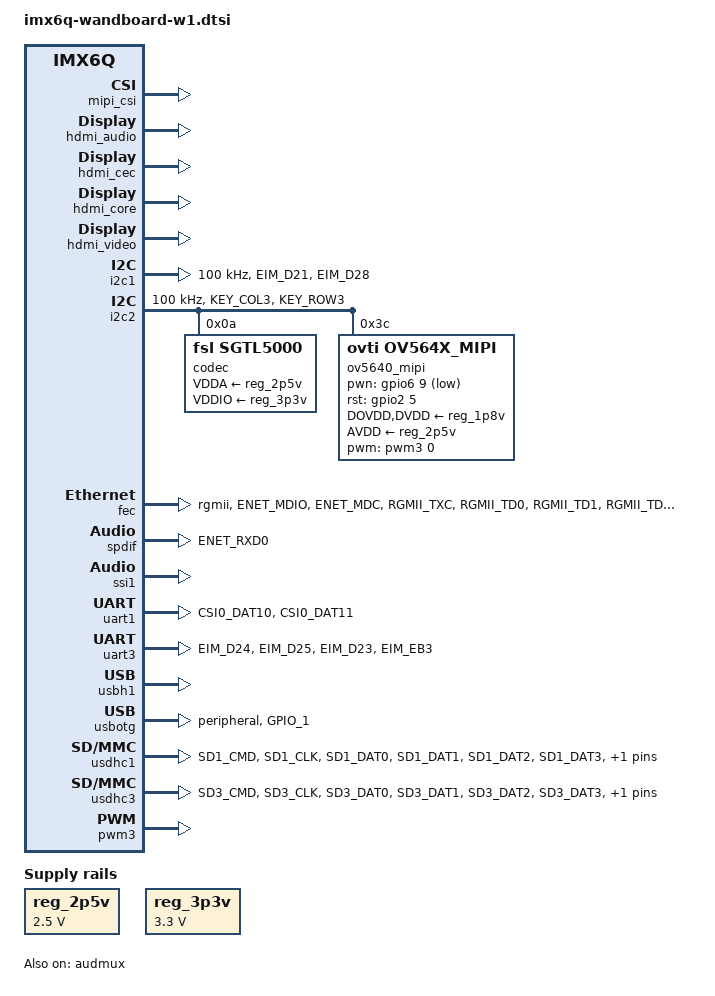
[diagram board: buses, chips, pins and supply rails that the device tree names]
/*
 * Copyright 2013 Freescale Semiconductor, Inc.
 *
 * Author: Fabio Estevam <fabio.estevam@freescale.com>
 *
 * This program is free software; you can redistribute it and/or modify
 * it under the terms of the GNU General Public License version 2 as
 * published by the Free Software Foundation.
 *
 */

#include <dt-bindings/gpio/gpio.h>

/ {
	regulators {
		compatible = "simple-bus";
		#address-cells = <1>;
		#size-cells = <0>;

		reg_2p5v: regulator@0 {
			compatible = "regulator-fixed";
			reg = <0>;
			regulator-name = "2P5V";
			regulator-min-microvolt = <2500000>;
			regulator-max-microvolt = <2500000>;
			regulator-always-on;
		};

		reg_3p3v: regulator@1 {
			compatible = "regulator-fixed";
			reg = <1>;
			regulator-name = "3P3V";
			regulator-min-microvolt = <3300000>;
			regulator-max-microvolt = <3300000>;
			regulator-always-on;
		};
	};

	sound {
		compatible = "fsl,imx6-wandboard-sgtl5000",
			     "fsl,imx-audio-sgtl5000";
		model = "imx6-wandboard-sgtl5000";
		ssi-controller = <&ssi1>;
		audio-codec = <&codec>;
		audio-routing =
			"MIC_IN", "Mic Jack",
			"Mic Jack", "Mic Bias",
			"Headphone Jack", "HP_OUT";
		mux-int-port = <1>;
		mux-ext-port = <3>;
	};

	sound-spdif {
		compatible = "fsl,imx-audio-spdif";
		model = "imx-spdif";
		spdif-controller = <&spdif>;
		spdif-out;
	};
        /*++++++++++++++++++++++++++++++*/
        mxcfb2: fb@1 {
                compatible = "fsl,mxc_sdc_fb";
                disp_dev = "hdmi";
                interface_pix_fmt = "RGB24";
                mode_str ="1920x1080M@60";
                default_bpp = <16>;
                int_clk = <0>;
                late_init = <0>;
                status = "okay";
        };
         
        mxcfb3: fb@2 {
                compatible = "fsl,mxc_sdc_fb";
                disp_dev = "lcd";
                interface_pix_fmt = "RGB565";
                mode_str ="CLAA-WVGA";
                default_bpp = <16>;
                int_clk = <0>;
                late_init = <0>;
                status = "okay";
        };

        v4l2_cap_0 { //mipi-csi2 camera
                compatible = "fsl, imx6q-v4l2-capture";
                ipu_id = <1>;
                csi_id = <1>;
                mclk_source = <0>;
                status = "okay";
        };

        v4l2_out {
                compatible = "fsl, mxc_v4l2_output";
                status = "okay";
        };
        /*+++++++++++++++++++++++++++++++++++++++++++*/
};

&mipi_csi {
        ipu_id = <1>;
        csi_id = <1>;
        v_channel = <0>;
        lanes = <2>;
        status = "okay";
};

&audmux {
	pinctrl-names = "default";
	pinctrl-0 = <&pinctrl_audmux>;
	status = "okay";
};

/*&hdmi {
	ddc-i2c-bus = <&i2c1>;
	status = "okay";
};*/

/*+++++++++++++++++++++++++++++++++++++++++++++*/
&hdmi_audio {
        status = "okay";
};

&hdmi_cec {
        pinctrl-names = "default";
        pinctrl-0 = <&pinctrl_hdmi_cec>;
        status = "okay";
};

&hdmi_core {
        ipu_id = <0>;
        disp_id = <0>;
        status = "okay";
};

&hdmi_video {
        fsl,phy_reg_vlev = <0x0294>;
        fsl,phy_reg_cksymtx = <0x800d>;
        status = "okay";
};
/*++++++++++++++++++++++++++++++++++++++++++++*/

&i2c1 {
	clock-frequency = <100000>;
	pinctrl-names = "default";
	pinctrl-0 = <&pinctrl_i2c1>;
	status = "okay";
};

&i2c2 {
	clock-frequency = <100000>;
	pinctrl-names = "default";
	pinctrl-0 = <&pinctrl_i2c2>;
	status = "okay";

	codec: sgtl5000@0a {
		compatible = "fsl,sgtl5000";
		reg = <0x0a>;
		clocks = <&clks 201>;
		VDDA-supply = <&reg_2p5v>;
		VDDIO-supply = <&reg_3p3v>;
	};

        ov5640_mipi@3c {
                compatible = "ovti, ov564x_mipi";
                reg = <0x3c>;
                clocks = <@clks 147>;
                clocks-names = "csi_mclk";
                DOVDD-supply = <&reg_1p8v>;
                AVDD-supply = <&reg_2p5v>;
                DVDD-supply = <&reg_1p8v>;
                pwn-gpios = <&gpio6 9 1>;
                rst-gpios = <&gpio2 5 0>;
                ipu_id = <1>;
                csi_id = <1>;
                mclk = <22000000>;
                mclk_source = <0>;
                pwms = <&pwm3 0 45>;
                status = "okay";
        };
};

&iomuxc {
	pinctrl-names = "default";

	imx6qdl-wandboard {

		pinctrl_audmux: audmuxgrp {
			fsl,pins = <
				MX6QDL_PAD_CSI0_DAT7__AUD3_RXD		0x130b0
				MX6QDL_PAD_CSI0_DAT4__AUD3_TXC		0x130b0
				MX6QDL_PAD_CSI0_DAT5__AUD3_TXD		0x110b0
				MX6QDL_PAD_CSI0_DAT6__AUD3_TXFS		0x130b0
			>;
		};

		pinctrl_enet: enetgrp {
			fsl,pins = <
				MX6QDL_PAD_ENET_MDIO__ENET_MDIO		0x1b0b0
				MX6QDL_PAD_ENET_MDC__ENET_MDC		0x1b0b0
				MX6QDL_PAD_RGMII_TXC__RGMII_TXC		0x1b0b0
				MX6QDL_PAD_RGMII_TD0__RGMII_TD0		0x1b0b0
				MX6QDL_PAD_RGMII_TD1__RGMII_TD1		0x1b0b0
				MX6QDL_PAD_RGMII_TD2__RGMII_TD2		0x1b0b0
				MX6QDL_PAD_RGMII_TD3__RGMII_TD3		0x1b0b0
				MX6QDL_PAD_RGMII_TX_CTL__RGMII_TX_CTL	0x1b0b0
				MX6QDL_PAD_ENET_REF_CLK__ENET_TX_CLK	0x1b0b0
				MX6QDL_PAD_RGMII_RXC__RGMII_RXC		0x1b0b0
				MX6QDL_PAD_RGMII_RD0__RGMII_RD0		0x1b0b0
				MX6QDL_PAD_RGMII_RD1__RGMII_RD1		0x1b0b0
				MX6QDL_PAD_RGMII_RD2__RGMII_RD2		0x1b0b0
				MX6QDL_PAD_RGMII_RD3__RGMII_RD3		0x1b0b0
				MX6QDL_PAD_RGMII_RX_CTL__RGMII_RX_CTL	0x1b0b0
				MX6QDL_PAD_GPIO_16__ENET_REF_CLK	0x4001b0a8
				MX6QDL_PAD_GPIO_6__ENET_IRQ		0x000b1
			>;
		};

		pinctrl_i2c1: i2c1grp {
			fsl,pins = <
				MX6QDL_PAD_EIM_D21__I2C1_SCL 		0x4001b8b1
				MX6QDL_PAD_EIM_D28__I2C1_SDA 		0x4001b8b1
			>;
		};

		pinctrl_i2c2: i2c2grp {
			fsl,pins = <
				MX6QDL_PAD_KEY_COL3__I2C2_SCL		0x4001b8b1
				MX6QDL_PAD_KEY_ROW3__I2C2_SDA		0x4001b8b1
			>;
		};

		pinctrl_spdif: spdifgrp {
			fsl,pins = <
				MX6QDL_PAD_ENET_RXD0__SPDIF_OUT		0x1b0b0
			>;
		};

		pinctrl_uart1: uart1grp {
			fsl,pins = <
				MX6QDL_PAD_CSI0_DAT10__UART1_TX_DATA	0x1b0b1
				MX6QDL_PAD_CSI0_DAT11__UART1_RX_DATA	0x1b0b1
			>;
		};

		pinctrl_uart3: uart3grp {
			fsl,pins = <
				MX6QDL_PAD_EIM_D24__UART3_TX_DATA	0x1b0b1
				MX6QDL_PAD_EIM_D25__UART3_RX_DATA	0x1b0b1
				MX6QDL_PAD_EIM_D23__UART3_CTS_B		0x1b0b1
				MX6QDL_PAD_EIM_EB3__UART3_RTS_B		0x1b0b1
			>;
		};

		pinctrl_usbotg: usbotggrp {
			fsl,pins = <
				MX6QDL_PAD_GPIO_1__USB_OTG_ID		0x17059
			>;
		};

		pinctrl_usdhc1: usdhc1grp {
			fsl,pins = <
				MX6QDL_PAD_SD1_CMD__SD1_CMD		0x17059
				MX6QDL_PAD_SD1_CLK__SD1_CLK		0x10059
				MX6QDL_PAD_SD1_DAT0__SD1_DATA0		0x17059
				MX6QDL_PAD_SD1_DAT1__SD1_DATA1		0x17059
				MX6QDL_PAD_SD1_DAT2__SD1_DATA2		0x17059
				MX6QDL_PAD_SD1_DAT3__SD1_DATA3		0x17059
			>;
		};

		pinctrl_usdhc2: usdhc2grp {
			fsl,pins = <
				MX6QDL_PAD_SD2_CMD__SD2_CMD		0x17059
				MX6QDL_PAD_SD2_CLK__SD2_CLK		0x10059
				MX6QDL_PAD_SD2_DAT0__SD2_DATA0		0x17059
				MX6QDL_PAD_SD2_DAT1__SD2_DATA1		0x17059
				MX6QDL_PAD_SD2_DAT2__SD2_DATA2		0x17059
				MX6QDL_PAD_SD2_DAT3__SD2_DATA3		0x17059
			>;
		};

		pinctrl_usdhc3: usdhc3grp {
			fsl,pins = <
				MX6QDL_PAD_SD3_CMD__SD3_CMD		0x17059
				MX6QDL_PAD_SD3_CLK__SD3_CLK		0x10059
				MX6QDL_PAD_SD3_DAT0__SD3_DATA0		0x17059
				MX6QDL_PAD_SD3_DAT1__SD3_DATA1		0x17059
				MX6QDL_PAD_SD3_DAT2__SD3_DATA2		0x17059
				MX6QDL_PAD_SD3_DAT3__SD3_DATA3		0x17059
			>;
		};
	};
};

&fec {
	pinctrl-names = "default";
	pinctrl-0 = <&pinctrl_enet>;
	phy-mode = "rgmii";
	phy-reset-gpios = <&gpio3 29 0>;
	interrupts-extended = <&gpio1 6 IRQ_TYPE_LEVEL_HIGH>,
			      <&intc 0 119 IRQ_TYPE_LEVEL_HIGH>;
	status = "okay";
};

&spdif {
	pinctrl-names = "default";
	pinctrl-0 = <&pinctrl_spdif>;
	status = "okay";
};

&ssi1 {
	status = "okay";
};

&uart1 {
	pinctrl-names = "default";
	pinctrl-0 = <&pinctrl_uart1>;
	status = "okay";
};

&uart3 {
	pinctrl-names = "default";
	pinctrl-0 = <&pinctrl_uart3>;
	fsl,uart-has-rtscts;
	status = "okay";
};

&usbh1 {
	status = "okay";
};

&usbotg {
	pinctrl-names = "default";
	pinctrl-0 = <&pinctrl_usbotg>;
	disable-over-current;
	dr_mode = "peripheral";
	status = "okay";
};

&usdhc1 {
	pinctrl-names = "default";
	pinctrl-0 = <&pinctrl_usdhc1>;
	cd-gpios = <&gpio1 2 GPIO_ACTIVE_LOW>;
	status = "okay";
};

&usdhc3 {
	pinctrl-names = "default";
	pinctrl-0 = <&pinctrl_usdhc3>;
	cd-gpios = <&gpio3 9 GPIO_ACTIVE_LOW>;
	status = "okay";
};

&pwm3 {
        status = "okay";
};
